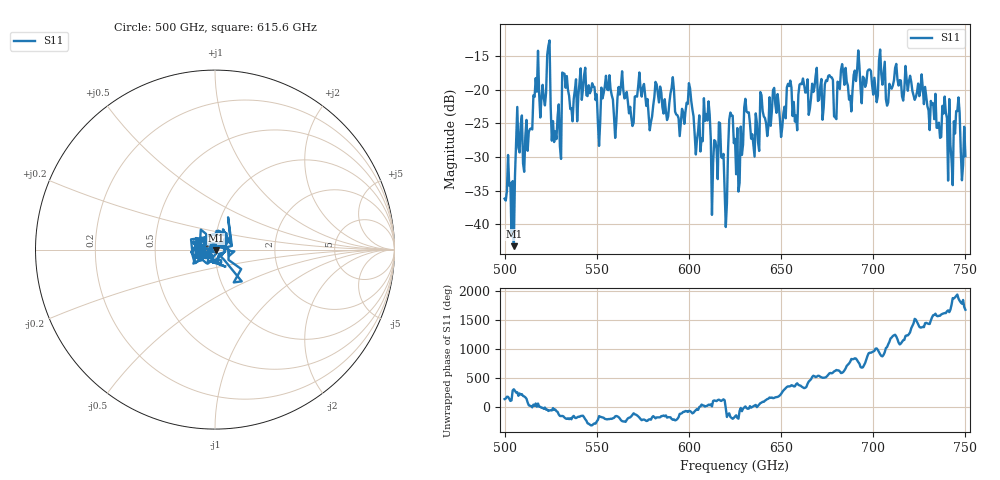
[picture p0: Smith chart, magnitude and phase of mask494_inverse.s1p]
!Created with skrf (http://scikit-rf.org).
# GHz S MA R 50.0
!freq magS11 angS11
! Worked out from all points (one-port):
!   401 points, 500 GHz to 750 GHz, reference 50 ohm
!   lowest |S11| = -43.3 dB at 505 GHz (marker M1), VSWR 1.01, Z = 50.5 - j0.5 ohm
!   |S11| at or under -10 dB: start of sweep to end of sweep
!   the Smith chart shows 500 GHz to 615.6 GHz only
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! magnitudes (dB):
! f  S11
! 500 GHz  -36.2
! 505 GHz  -43.3
! 507.5 GHz  -28.6
! 511.2 GHz  -26.9
! 516.9 GHz  -18.3
! 520.6 GHz  -19.3
! 523.8 GHz  -13.5
! 526.9 GHz  -27.8
! 531.2 GHz  -17.5
! 532.5 GHz  -17.7
! 550.6 GHz  -25.0
! 562.5 GHz  -20.7
! 593.8 GHz  -23.8
! 609.4 GHz  -23.6
! 613.1 GHz  -30.9
! 617.5 GHz  -30.0
! 619.4 GHz  -34.8
! 622.5 GHz  -23.4
! 625 GHz  -27.3
! 656.2 GHz  -23.9
! 687.5 GHz  -20.9
! 691.2 GHz  -17.1
! 718.8 GHz  -20.2
! 735.6 GHz  -24.9
! 738.8 GHz  -21.0
! 741.9 GHz  -28.2
! 745.6 GHz  -23.2
! 750 GHz  -29.9
